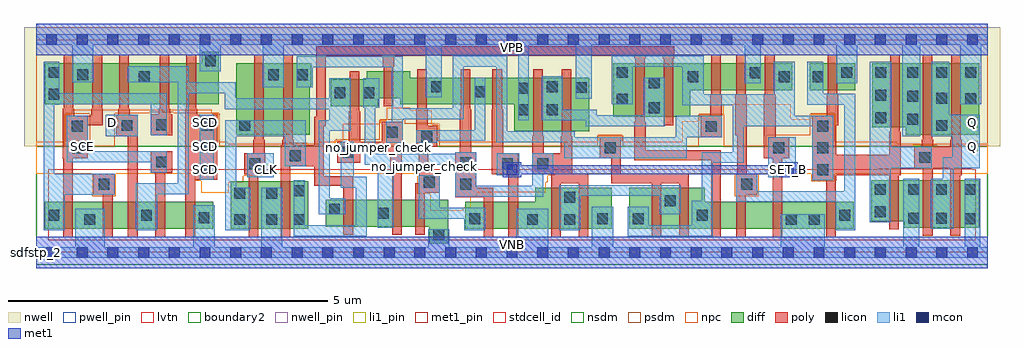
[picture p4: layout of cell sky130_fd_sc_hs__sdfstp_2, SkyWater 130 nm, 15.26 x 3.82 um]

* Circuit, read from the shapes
.subckt sky130_fd_sc_hs__sdfstp_2 CLK D Q SCD SCE SET_B VGND VNB VPB VPWR
XM1 VGND SCE n1 VNB sky130_fd_pr__nfet_01v8_lvt w=0.42 l=0.15
XM2 n2 n1 VGND VNB sky130_fd_pr__nfet_01v8_lvt w=0.42 l=0.15
XM3 n3 D n2 VNB sky130_fd_pr__nfet_01v8_lvt w=0.42 l=0.15
XM4 n4 SCE n3 VNB sky130_fd_pr__nfet_01v8_lvt w=0.42 l=0.15
XM5 VGND SCD n4 VNB sky130_fd_pr__nfet_01v8_lvt w=0.42 l=0.15
XM6 VGND CLK n5 VNB sky130_fd_pr__nfet_01v8_lvt w=0.74 l=0.15
XM7 n6 n5 VGND VNB sky130_fd_pr__nfet_01v8_lvt w=0.74 l=0.15
XM8 n7 n5 n3 VNB sky130_fd_pr__nfet_01v8_lvt w=0.42 l=0.15
XM9 n8 n6 n7 VNB sky130_fd_pr__nfet_01v8_lvt w=0.42 l=0.15
XM10 VGND n9 n8 VNB sky130_fd_pr__nfet_01v8_lvt w=0.42 l=0.15
XM11 n10 n7 n9 VNB sky130_fd_pr__nfet_01v8_lvt w=0.42 l=0.15
XM12 VGND SET_B n10 VNB sky130_fd_pr__nfet_01v8_lvt w=0.42 l=0.15
XM13 n11 n7 VGND VNB sky130_fd_pr__nfet_01v8_lvt w=0.64 l=0.15 m=2
XM14 n11 n6 n12 VNB sky130_fd_pr__nfet_01v8_lvt w=0.64 l=0.15 m=2
XM15 n13 n5 n12 VNB sky130_fd_pr__nfet_01v8_lvt w=0.42 l=0.15
XM16 n14 n15 n13 VNB sky130_fd_pr__nfet_01v8_lvt w=0.42 l=0.15
XM17 VGND SET_B n14 VNB sky130_fd_pr__nfet_01v8_lvt w=0.42 l=0.15
XM18 n15 n12 VGND VNB sky130_fd_pr__nfet_01v8_lvt w=0.42 l=0.15
XM19 VGND n12 n16 VNB sky130_fd_pr__nfet_01v8_lvt w=0.64 l=0.15
XM20 Q n16 VGND VNB sky130_fd_pr__nfet_01v8_lvt w=0.74 l=0.15 m=2
XM21 VPWR SCE n1 VPB sky130_fd_pr__pfet_01v8 w=0.64 l=0.15
XM22 n17 SCE VPWR VPB sky130_fd_pr__pfet_01v8 w=0.64 l=0.15
XM23 n3 D n17 VPB sky130_fd_pr__pfet_01v8 w=0.64 l=0.15
XM24 n18 n1 n3 VPB sky130_fd_pr__pfet_01v8 w=0.64 l=0.15
XM25 VPWR SCD n18 VPB sky130_fd_pr__pfet_01v8 w=0.64 l=0.15
XM26 VPWR CLK n5 VPB sky130_fd_pr__pfet_01v8 w=1.12 l=0.15
XM27 n6 n5 VPWR VPB sky130_fd_pr__pfet_01v8 w=1.12 l=0.15
XM28 n7 n6 n3 VPB sky130_fd_pr__pfet_01v8 w=0.42 l=0.15
XM29 n19 n5 n7 VPB sky130_fd_pr__pfet_01v8 w=0.42 l=0.15
XM30 VPWR n9 n19 VPB sky130_fd_pr__pfet_01v8 w=0.42 l=0.15
XM31 n9 n7 VPWR VPB sky130_fd_pr__pfet_01v8 w=0.42 l=0.15
XM32 VPWR SET_B n9 VPB sky130_fd_pr__pfet_01v8 w=0.42 l=0.15
XM33 n20 n7 VPWR VPB sky130_fd_pr__pfet_01v8 w=0.84 l=0.15 m=2
XM34 n20 n5 n12 VPB sky130_fd_pr__pfet_01v8 w=0.84 l=0.15 m=2
XM35 n21 n6 n12 VPB sky130_fd_pr__pfet_01v8 w=0.42 l=0.15
XM36 VPWR n15 n21 VPB sky130_fd_pr__pfet_01v8 w=0.42 l=0.15
XM37 n12 SET_B VPWR VPB sky130_fd_pr__pfet_01v8 w=0.42 l=0.15
XM38 VPWR n12 n15 VPB sky130_fd_pr__pfet_01v8 w=0.42 l=0.15
XM39 VPWR n12 n16 VPB sky130_fd_pr__pfet_01v8 w=1 l=0.15
XM40 Q n16 VPWR VPB sky130_fd_pr__pfet_01v8 w=1.12 l=0.15 m=2
.ends

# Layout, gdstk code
import gdstk
lib = gdstk.Library(unit=1e-6, precision=1e-09)
def R(c, l, rs):  # rectangles x0, y0, x1, y1
    for r in rs: c.add(gdstk.rectangle(r[:2], r[2:], *l))
def A(c, l, x, y, w, h, nx, ny, dx, dy):  # array of equal rectangles
    R(c, l, [(x+i*dx, y+j*dy, x+i*dx+w, y+j*dy+h) for i in range(nx) for j in range(ny)])
def P(c, l, *ps):  # polygons
    for p in ps: c.add(gdstk.Polygon(p, *l))
nwell_pin = (64, 16)
nwell = (64, 20)
diff = (65, 20)
poly = (66, 20)
licon = (66, 44)
li1_pin = (67, 16)
li1 = (67, 20)
mcon = (67, 44)
met1_pin = (68, 16)
met1 = (68, 20)
stdcell_id = (81, 4)
nsdm = (93, 44)
psdm = (94, 20)
npc = (95, 20)
pwell_pin = (122, 16)
lvtn = (125, 44)
boundary2 = (236, 0)

sky130_fd_sc_hs__sdfstp_ = lib.new_cell('sky130_fd_sc_hs__sdfstp_2')
R(sky130_fd_sc_hs__sdfstp_, nwell_pin, [(0,3.085,14.88,3.33)])
R(sky130_fd_sc_hs__sdfstp_, nwell, [(-0.19,1.66,15.07,3.52)])
R(sky130_fd_sc_hs__sdfstp_, diff, [(0.135,0.37,2.77,0.79), (3.04,0.37,4.255,1.11), (12.095,2.54,12.805,2.96)])
P(sky130_fd_sc_hs__sdfstp_, diff, [(2.855,3.14),(2.59,3.14),(2.59,2.96),(0.135,2.96),(0.135,2.32),(2.855,2.32)],
  [(4.305,2.96),(3.125,2.96),(3.125,1.84),(4.275,1.84),(4.275,2.6),(4.305,2.6)],
  [(6.44,0.825),(4.525,0.825),(4.525,0.405),(6.15,0.405),(6.15,0.135),(6.44,0.135)],
  [(8.65,2.735),(5.85,2.735),(5.85,2.835),(5.17,2.835),(5.17,2.705),(4.605,2.705),(4.605,2.285),(5.345,2.285),(5.345,2.415),(5.69,2.415),(5.69,2.315),(7.475,2.315),(7.475,1.895),(8.65,1.895)],
  [(9,1.01),(7.805,1.01),(7.805,0.79),(6.71,0.79),(6.71,0.37),(9,0.37)],
  [(11.825,2.96),(9.02,2.96),(9.02,2.12),(10.23,2.12),(10.23,2.54),(11.825,2.54)],
  [(12.785,0.79),(10.455,0.79),(10.455,1.01),(9.27,1.01),(9.27,0.37),(12.785,0.37)],
  [(14.745,2.96),(13.075,2.96),(13.075,1.96),(13.595,1.96),(13.595,1.84),(14.745,1.84)],
  [(14.745,1.13),(13.055,1.13),(13.055,0.49),(13.575,0.49),(13.575,0.39),(14.745,0.39)])
P(sky130_fd_sc_hs__sdfstp_, poly, [(10.72,2.465),(10.705,2.465),(10.705,3.09),(10.555,3.09),(10.555,2.465),(10.54,2.465),(10.54,2.135),(10.39,2.135),(10.39,1.805),(10.72,1.805)],
  [(10.705,1.595),(9.53,1.595),(9.53,2.045),(9.515,2.045),(9.515,3.035),(9.53,3.035),(9.53,3.075),(9.8,3.075),(9.8,3.035),(9.815,3.035),(9.815,1.99),(9.965,1.99),(9.965,3.035),(9.98,3.035),(9.98,3.225),(4.38,3.225),(4.38,2.12),(4.35,2.12),(4.35,1.68),(4.025,1.68),(4.025,1.765),(4.01,1.765),(4.01,3.09),(3.86,3.09),(3.86,1.765),(3.845,1.765),(3.845,1.68),(3.825,1.68),(3.825,0.24),(3.975,0.24),(3.975,1.35),(4.35,1.35),(4.35,1.04),(4.805,1.04),(4.805,0.275),(4.955,0.275),(4.955,1.19),(4.5,1.19),(4.5,1.97),(4.53,1.97),(4.53,3.075),(5.42,3.075),(5.42,2.91),(5.435,2.91),(5.435,2.285),(5.585,2.285),(5.585,2.91),(5.6,2.91),(5.6,3.075),(9.35,3.075),(9.35,3.035),(9.365,3.035),(9.365,2.045),(9.35,2.045),(9.35,1.445),(10.555,1.445),(10.555,0.24),(10.705,0.24)],
  [(10.205,1.235),(9.14,1.235),(9.14,1.805),(8.81,1.805),(8.81,1.475),(8.99,1.475),(8.99,1.085),(9.625,1.085),(9.625,0.24),(9.775,0.24),(9.775,1.085),(10.055,1.085),(10.055,0.24),(10.205,0.24)],
  [(8.635,1.235),(8.385,1.235),(8.385,1.82),(8.37,1.82),(8.37,2.865),(8.22,2.865),(8.22,1.82),(8.205,1.82),(8.205,1.555),(7.935,1.555),(7.935,1.82),(7.92,1.82),(7.92,2.865),(7.77,2.865),(7.77,1.82),(7.755,1.82),(7.755,1.225),(8.055,1.225),(8.055,0.24),(8.205,0.24),(8.205,1.085),(8.485,1.085),(8.485,0.24),(8.635,0.24)],
  [(7.535,1.555),(7.3,1.555),(7.3,2.24),(7.285,2.24),(7.285,2.865),(7.135,2.865),(7.135,2.24),(7.12,2.24),(7.12,1.225),(7.385,1.225),(7.385,0.24),(7.535,0.24)],
  [(7.145,1.015),(6.88,1.015),(6.88,1.57),(6.805,1.57),(6.805,2.24),(6.79,2.24),(6.79,2.865),(6.64,2.865),(6.64,2.24),(6.625,2.24),(6.625,1.57),(6.55,1.57),(6.55,0.865),(6.995,0.865),(6.995,0.24),(7.145,0.24)],
  [(6.31,1.265),(6.13,1.265),(6.13,1.65),(6.27,1.65),(6.27,1.98),(6.12,1.98),(6.12,2.24),(6.105,2.24),(6.105,2.865),(5.955,2.865),(5.955,2.24),(5.94,2.24),(5.94,1.65),(5.98,1.65),(5.98,1.085),(5.925,1.085),(5.925,0.275),(6.075,0.275),(6.075,0.935),(6.31,0.935)],
  [(5.73,2.045),(5.4,2.045),(5.4,1.73),(5.065,1.73),(5.065,2.21),(5.05,2.21),(5.05,2.835),(4.9,2.835),(4.9,2.21),(4.885,2.21),(4.885,1.73),(4.71,1.73),(4.71,1.4),(5.065,1.4),(5.065,1.58),(5.535,1.58),(5.535,1.26),(5.565,1.26),(5.565,0.275),(5.715,0.275),(5.715,1.58),(5.73,1.58)],
  [(3.585,1.55),(3.575,1.55),(3.575,1.765),(3.56,1.765),(3.56,3.09),(3.41,3.09),(3.41,1.765),(3.395,1.765),(3.395,1.55),(3.255,1.55),(3.255,1.22),(3.325,1.22),(3.325,0.24),(3.475,0.24),(3.475,1.22),(3.585,1.22)],
  [(2.83,2.15),(2.515,2.15),(2.515,2.245),(2.5,2.245),(2.5,3.09),(2.35,3.09),(2.35,2.245),(2.335,2.245),(2.335,0.24),(2.485,0.24),(2.485,1.14),(2.83,1.14)],
  [(2.125,1.58),(1.795,1.58),(1.795,1.25),(1.865,1.25),(1.865,0.24),(2.015,0.24),(2.015,1.25),(2.125,1.25)],
  [(2.125,2.16),(2.095,2.16),(2.095,2.245),(2.08,2.245),(2.08,3.09),(1.93,3.09),(1.93,2.245),(1.915,2.245),(1.915,2.16),(1.795,2.16),(1.795,1.83),(2.125,1.83)],
  [(1.585,2.15),(1.465,2.15),(1.465,2.245),(1.45,2.245),(1.45,3.09),(1.3,3.09),(1.3,2.245),(1.285,2.245),(1.285,2.15),(1.255,2.15),(1.255,1.82),(1.435,1.82),(1.435,0.24),(1.585,0.24)],
  [(1.225,1.23),(0.895,1.23),(0.895,0.9),(1.045,0.9),(1.045,0.24),(1.195,0.24),(1.195,0.9),(1.225,0.9)],
  [(1.045,2.245),(1.03,2.245),(1.03,3.09),(0.88,3.09),(0.88,2.245),(0.865,2.245),(0.865,2.14),(0.595,2.14),(0.595,2.245),(0.58,2.245),(0.58,3.09),(0.43,3.09),(0.43,2.245),(0.415,2.245),(0.415,1.47),(0.42,1.47),(0.42,0.24),(0.57,0.24),(0.57,1.47),(0.805,1.47),(0.805,1.99),(1.045,1.99)],
  [(11.275,1.23),(11.11,1.23),(11.11,2.465),(11.095,2.465),(11.095,3.09),(10.945,3.09),(10.945,2.465),(10.93,2.465),(10.93,1.835),(10.96,1.835),(10.96,1.23),(10.945,1.23),(10.945,0.24),(11.095,0.24),(11.095,0.9),(11.275,0.9)],
  [(11.775,1.8),(11.56,1.8),(11.56,2.465),(11.545,2.465),(11.545,3.09),(11.395,3.09),(11.395,2.465),(11.38,2.465),(11.38,1.47),(11.515,1.47),(11.515,0.24),(11.665,0.24),(11.665,1.47),(11.775,1.47)],
  [(13.52,1.885),(13.505,1.885),(13.505,3.09),(13.355,3.09),(13.355,1.885),(13.34,1.885),(13.34,1.525),(12.51,1.525),(12.51,1.99),(12.54,1.99),(12.54,2.465),(12.525,2.465),(12.525,3.09),(12.375,3.09),(12.375,2.465),(12.36,2.465),(12.36,2.14),(12.135,2.14),(12.135,1.13),(12.35,1.13),(12.35,0.24),(12.5,0.24),(12.5,1.13),(12.51,1.13),(12.51,1.205),(13.34,1.205),(13.34,0.36),(13.49,0.36),(13.49,1.205),(13.52,1.205)],
  [(14.475,1.765),(14.46,1.765),(14.46,3.09),(14.31,3.09),(14.31,1.765),(14.295,1.765),(14.295,1.65),(14.025,1.65),(14.025,1.765),(14.01,1.765),(14.01,3.09),(13.86,3.09),(13.86,1.765),(13.845,1.765),(13.845,1.65),(13.73,1.65),(13.73,1.32),(13.865,1.32),(13.865,0.26),(14.015,0.26),(14.015,1.32),(14.295,1.32),(14.295,0.26),(14.445,0.26),(14.445,1.205),(14.475,1.205)])
A(sky130_fd_sc_hs__sdfstp_, licon, 12.215, 1.21, 0.17, 0.17, 1, 3, 0, 0.34)
A(sky130_fd_sc_hs__sdfstp_, licon, 2.58, 1.22, 0.17, 0.17, 1, 3, 0, 0.34)
A(sky130_fd_sc_hs__sdfstp_, licon, 13.12, 2.02, 0.17, 0.17, 1, 3, 0, 0.355)
R(sky130_fd_sc_hs__sdfstp_, licon, [(6.21,0.19,6.38,0.36), (0.755,0.43,0.925,0.6), (3.1,0.43,3.27,0.6), (3.6,0.43,3.77,0.6), (4.03,0.43,4.2,0.6), (7.675,0.43,7.845,0.6), (8.26,0.43,8.43,0.6), (11.72,0.43,11.89,0.6), (12.08,0.43,12.25,0.6), (6.77,0.44,6.94,0.61), (14.515,0.44,14.685,0.61), (8.77,0.445,8.94,0.615), (9.33,0.445,9.5,0.615), (13.635,0.45,13.805,0.62), (14.07,0.45,14.24,0.62), (2.54,0.46,2.71,0.63), (0.195,0.495,0.365,0.665), (1.64,0.495,1.81,0.665), (10.33,0.495,10.5,0.665), (12.555,0.495,12.725,0.665), (5.34,0.53,5.51,0.7), (13.115,0.55,13.285,0.72), (4.58,0.595,4.75,0.765), (9.83,0.725,10,0.895), (8.26,0.78,8.43,0.95), (3.1,0.84,3.27,1.01), (3.6,0.84,3.77,1.01), (4.03,0.88,4.2,1.05), (13.115,0.9,13.285,1.07), (13.635,0.9,13.805,1.07), (14.07,0.9,14.24,1.07), (14.515,0.9,14.685,1.07), (0.975,0.98,1.145,1.15), (6.63,0.98,6.8,1.15), (11.025,0.98,11.195,1.15), (6.06,1.015,6.23,1.185), (3.335,1.3,3.505,1.47), (7.285,1.305,7.455,1.475), (7.835,1.305,8.005,1.475), (6.63,1.32,6.8,1.49), (1.875,1.33,2.045,1.5), (13.81,1.4,13.98,1.57), (3.965,1.43,4.135,1.6), (4.79,1.48,4.96,1.65), (0.555,1.55,0.725,1.72), (11.525,1.55,11.695,1.72), (8.89,1.555,9.06,1.725), (6.02,1.73,6.19,1.9), (5.48,1.795,5.65,1.965), (10.47,1.885,10.64,2.055), (0.555,1.89,0.725,2.06), (1.335,1.9,1.505,2.07), (3.175,1.9,3.345,2.07), (14.075,1.9,14.245,2.07), (1.875,1.91,2.045,2.08), (13.62,2,13.79,2.17), (7.535,2.145,7.705,2.315), (7.985,2.145,8.155,2.315), (9.58,2.18,9.75,2.35), (9.08,2.315,9.25,2.485), (14.525,2.32,14.695,2.49), (14.075,2.325,14.245,2.495), (13.62,2.355,13.79,2.525), (0.195,2.39,0.365,2.56), (4.665,2.41,4.835,2.58), (5.115,2.41,5.285,2.58), (6.855,2.43,7.025,2.6), (7.535,2.485,7.705,2.655), (8.435,2.495,8.605,2.665), (6.175,2.505,6.345,2.675), (7.985,2.505,8.155,2.675), (9.58,2.565,9.75,2.735), (1.605,2.66,1.775,2.83), (10.185,2.66,10.355,2.83), (11.61,2.665,11.78,2.835), (12.14,2.665,12.31,2.835), (0.645,2.695,0.815,2.865), (3.625,2.695,3.795,2.865), (4.075,2.695,4.245,2.865), (11.16,2.725,11.33,2.895), (0.195,2.73,0.365,2.9), (9.08,2.73,9.25,2.9), (12.59,2.73,12.76,2.9), (13.62,2.73,13.79,2.9), (14.075,2.73,14.245,2.9), (14.525,2.73,14.695,2.9), (2.64,2.91,2.81,3.08)])
A(sky130_fd_sc_hs__sdfstp_, li1_pin, 2.555, 1.21, 0.17, 0.17, 1, 3, 0, 0.37)
R(sky130_fd_sc_hs__sdfstp_, li1_pin, [(3.515,1.21,3.685,1.38), (0.635,1.58,0.805,1.75), (14.555,1.58,14.725,1.75), (1.115,1.95,1.285,2.12), (14.555,1.95,14.725,2.12)])
R(sky130_fd_sc_hs__sdfstp_, li1, [(2.555,1.14,2.78,2.15), (3.3,1.18,3.715,1.55), (11.445,1.18,11.875,1.8), (7.205,1.21,7.555,1.555), (1.085,1.82,1.585,2.15)])
P(sky130_fd_sc_hs__sdfstp_, li1, [(0.285,2.31),(0.285,1.23),(1.225,1.23),(1.225,0.9),(0.445,0.9),(0.445,0.35),(0.115,0.35),(0.115,2.98),(0.365,2.98),(0.365,2.49),(2.045,2.49),(2.045,1.83),(1.795,1.83),(1.795,2.32),(0.365,2.32),(0.365,2.31)],
  [(8.435,2.405),(8.435,3.245),(7.705,3.245),(7.705,2.065),(7.535,2.065),(7.535,3.245),(6.345,3.245),(6.345,2.425),(6.095,2.425),(6.095,3.245),(3.875,3.245),(3.875,2.58),(3.545,2.58),(3.545,3.245),(2.89,3.245),(2.89,2.83),(2.56,2.83),(2.56,3.245),(0.895,3.245),(0.895,2.66),(0.565,2.66),(0.565,3.245),(0,3.245),(0,3.415),(14.88,3.415),(14.88,3.245),(14.775,3.245),(14.775,2.32),(14.445,2.32),(14.445,3.245),(13.825,3.245),(13.825,1.82),(13.54,1.82),(13.54,3.245),(12.84,3.245),(12.84,2.65),(12.51,2.65),(12.51,3.245),(11.33,3.245),(11.33,2.645),(11.08,2.645),(11.08,3.245),(8.685,3.245),(8.685,2.405)],
  [(13.555,0.085),(13.555,1.15),(13.805,1.15),(13.805,0.085),(14.515,0.085),(14.515,1.15),(14.765,1.15),(14.765,0.085),(14.88,0.085),(14.88,-0.085),(0,-0.085),(0,0.085),(0.615,0.085),(0.615,0.68),(1.07,0.68),(1.07,0.085),(2.46,0.085),(2.46,0.74),(2.79,0.74),(2.79,0.085),(3.52,0.085),(3.52,1.01),(3.85,1.01),(3.85,0.085),(6.13,0.085),(6.13,0.36),(6.46,0.36),(6.46,0.085),(7.51,0.085),(7.51,0.68),(8.01,0.68),(8.01,0.085),(8.69,0.085),(8.69,0.715),(9.02,0.715),(9.02,0.085),(11.64,0.085),(11.64,0.6),(12.33,0.6),(12.33,0.085)],
  [(11.275,0.96),(12.635,0.96),(12.635,2.31),(12.06,2.31),(12.06,2.98),(12.31,2.98),(12.31,2.48),(12.805,2.48),(12.805,0.35),(12.5,0.35),(12.5,0.79),(10.945,0.79),(10.945,1.23),(11.275,1.23)],
  [(0.475,2.14),(0.805,2.14),(0.805,1.58),(2.045,1.58),(2.045,1.25),(1.795,1.25),(1.795,1.41),(0.475,1.41)],
  [(1.56,1.08),(2.215,1.08),(2.215,2.66),(1.435,2.66),(1.435,2.91),(2.385,2.91),(2.385,2.66),(3.12,2.66),(3.12,2.41),(4.585,2.41),(4.585,2.725),(4.915,2.725),(4.915,1.9),(4.59,1.9),(4.59,0.845),(4.83,0.845),(4.83,0.595),(4.42,0.595),(4.42,2.07),(4.585,2.07),(4.585,2.24),(2.95,2.24),(2.95,2.49),(2.385,2.49),(2.385,0.91),(1.89,0.91),(1.89,0.35),(1.56,0.35)],
  [(10.105,2.305),(10.105,2.905),(9.33,2.905),(9.33,2.315),(9,2.315),(9,3.075),(10.435,3.075),(10.435,2.475),(11.53,2.475),(11.53,2.98),(11.86,2.98),(11.86,2.14),(12.465,2.14),(12.465,1.13),(12.135,1.13),(12.135,1.97),(11.06,1.97),(11.06,1.4),(10.58,1.4),(10.58,0.255),(9.25,0.255),(9.25,0.715),(9.58,0.715),(9.58,0.425),(10.25,0.425),(10.25,0.81),(10.41,0.81),(10.41,1.57),(10.89,1.57),(10.89,2.305)],
  [(14.755,2.15),(14.275,2.15),(14.275,2.98),(13.995,2.98),(13.995,1.82),(14.325,1.82),(14.325,1.49),(14.175,1.49),(14.175,1.15),(13.99,1.15),(13.99,0.37),(14.345,0.37),(14.345,1.32),(14.755,1.32)],
  [(13.035,2.98),(13.37,2.98),(13.37,1.65),(14.005,1.65),(14.005,1.32),(13.365,1.32),(13.365,0.47),(13.035,0.47)],
  [(4.76,1.015),(4.76,1.73),(4.965,1.73),(4.965,1.185),(5.17,1.185),(5.17,0.255),(4.03,0.255),(4.03,1.13),(4.2,1.13),(4.2,0.425),(5,0.425),(5,1.015)],
  [(5.135,1.375),(5.135,2.265),(5.115,2.265),(5.115,2.725),(5.365,2.725),(5.365,2.265),(5.305,2.265),(5.305,1.545),(6.55,1.545),(6.55,1.57),(6.88,1.57),(6.88,1.04),(7.755,1.04),(7.755,1.555),(8.085,1.555),(8.085,1.225),(7.925,1.225),(7.925,0.87),(6.55,0.87),(6.55,1.375),(5.59,1.375),(5.59,0.385),(5.34,0.385),(5.34,1.375)],
  [(2.96,2.07),(4.215,2.07),(4.215,1.35),(3.885,1.35),(3.885,1.82),(3.13,1.82),(3.13,1.01),(3.35,1.01),(3.35,0.35),(2.96,0.35)],
  [(7.025,1.745),(6.27,1.745),(6.27,1.715),(5.94,1.715),(5.94,1.915),(6.855,1.915),(6.855,2.735),(7.025,2.735)],
  [(6.69,0.35),(6.69,0.53),(5.98,0.53),(5.98,1.205),(6.31,1.205),(6.31,0.7),(7.02,0.7),(7.02,0.35)],
  [(7.195,1.725),(7.195,2.905),(6.685,2.905),(6.685,2.085),(5.73,2.085),(5.73,1.715),(5.475,1.715),(5.475,2.045),(5.56,2.045),(5.56,2.895),(4.325,2.895),(4.325,2.58),(4.075,2.58),(4.075,3.065),(5.73,3.065),(5.73,2.255),(6.515,2.255),(6.515,3.075),(7.365,3.075),(7.365,1.895),(8.425,1.895),(8.425,1.805),(10,1.805),(10,2.135),(10.72,2.135),(10.72,1.805),(10.17,1.805),(10.17,1.475),(8.255,1.475),(8.255,1.725)],
  [(8.235,2.235),(8.765,2.235),(8.765,2.145),(9.5,2.145),(9.5,2.735),(9.83,2.735),(9.83,1.975),(8.595,1.975),(8.595,2.065),(7.905,2.065),(7.905,2.755),(8.235,2.755)],
  [(9.75,0.595),(9.75,0.885),(8.51,0.885),(8.51,0.35),(8.18,0.35),(8.18,1.055),(10.08,1.055),(10.08,0.595)])
A(sky130_fd_sc_hs__sdfstp_, mcon, 0.155, -0.085, 0.17, 0.17, 31, 2, 0.48, 3.33)
R(sky130_fd_sc_hs__sdfstp_, mcon, [(7.355,1.21,7.525,1.38), (11.675,1.21,11.845,1.38)])
R(sky130_fd_sc_hs__sdfstp_, met1_pin, [(0,0,14.88,0.245), (11.675,1.21,11.845,1.38), (0,3.085,14.88,3.33)])
R(sky130_fd_sc_hs__sdfstp_, met1, [(0,-0.245,14.88,0.245), (0,3.085,14.88,3.575)])
P(sky130_fd_sc_hs__sdfstp_, met1, [(7.585,1.365),(11.615,1.365),(11.615,1.41),(11.905,1.41),(11.905,1.18),(11.615,1.18),(11.615,1.225),(7.585,1.225),(7.585,1.18),(7.295,1.18),(7.295,1.41),(7.585,1.41)])
R(sky130_fd_sc_hs__sdfstp_, stdcell_id, [(0,0,14.88,3.33)])
R(sky130_fd_sc_hs__sdfstp_, nsdm, [(0,-0.19,14.88,1.66)])
P(sky130_fd_sc_hs__sdfstp_, psdm, [(14.88,3.52),(0,3.52),(0,1.66),(0.445,1.66),(0.445,2.17),(0.835,2.17),(0.835,1.66),(1.225,1.66),(1.225,2.18),(1.765,2.18),(1.765,2.19),(2.155,2.19),(2.155,2.18),(2.86,2.18),(2.86,1.66),(3.855,1.66),(3.855,1.71),(4.245,1.71),(4.245,1.66),(4.68,1.66),(4.68,1.76),(5.37,1.76),(5.37,2.075),(5.76,2.075),(5.76,2.01),(6.3,2.01),(6.3,1.66),(8.78,1.66),(8.78,1.835),(9.17,1.835),(9.17,1.66),(10.36,1.66),(10.36,2.165),(10.75,2.165),(10.75,1.66),(11.415,1.66),(11.415,1.83),(12.105,1.83),(12.105,2.17),(12.495,2.17),(12.495,1.66),(13.7,1.66),(13.7,1.68),(14.09,1.68),(14.09,1.66),(14.88,1.66)])
P(sky130_fd_sc_hs__sdfstp_, npc, [(14.88,1.7),(13.455,1.7),(13.455,1.73),(12.485,1.73),(12.485,2.16),(12.115,2.16),(12.115,2.085),(11.795,2.085),(11.795,2.315),(10.74,2.315),(10.74,2.155),(10.37,2.155),(10.37,2.05),(10.105,2.05),(10.105,1.73),(9.16,1.73),(9.16,1.825),(8.79,1.825),(8.79,1.73),(6.29,1.73),(6.29,2),(6.185,2),(6.185,2.225),(5.85,2.225),(5.85,2.265),(5.485,2.265),(5.485,2.065),(5.38,2.065),(5.38,2.015),(4.795,2.015),(4.795,1.75),(4.69,1.75),(4.69,1.73),(4.415,1.73),(4.415,1.7),(2.985,1.7),(2.985,1.73),(2.85,1.73),(2.85,2.17),(2.745,2.17),(2.745,2.23),(0.56,2.23),(0.56,2.16),(0.455,2.16),(0.455,1.73),(0,1.73),(0,1.23),(0.875,1.23),(0.875,0.88),(1.245,0.88),(1.245,1.23),(2.48,1.23),(2.48,1.12),(2.585,1.12),(2.585,0.935),(3.01,0.935),(3.01,1.1),(3.235,1.1),(3.235,1.2),(3.605,1.2),(3.605,1.23),(5.96,1.23),(5.96,0.915),(6.165,0.915),(6.165,0.65),(6.68,0.65),(6.68,0.7),(6.795,0.7),(6.795,0.88),(6.9,0.88),(6.9,0.94),(7.965,0.94),(7.965,1.1),(8,1.1),(8,1.205),(8.105,1.205),(8.105,1.23),(10.925,1.23),(10.925,0.88),(11.295,0.88),(11.295,1.23),(12.115,1.23),(12.115,1.11),(12.485,1.11),(12.485,1.23),(14.88,1.23)])
R(sky130_fd_sc_hs__sdfstp_, pwell_pin, [(0,0,14.88,0.245)])
P(sky130_fd_sc_hs__sdfstp_, lvtn, [(14.69,1.3),(14.625,1.3),(14.625,1.31),(13.16,1.31),(13.16,1.3),(0.19,1.3),(0.19,0.19),(14.69,0.19)])
R(sky130_fd_sc_hs__sdfstp_, boundary2, [(0,0,14.88,3.33)])
sky130_fd_sc_hs__sdfstp_.add(gdstk.Label('sdfstp_2', (0,0), layer=83, texttype=44))
sky130_fd_sc_hs__sdfstp_.add(gdstk.Label('no_jumper_check', (6.07,1.345), layer=83, texttype=44))
sky130_fd_sc_hs__sdfstp_.add(gdstk.Label('no_jumper_check', (5.36,1.635), layer=83, texttype=44))
sky130_fd_sc_hs__sdfstp_.add(gdstk.Label('VNB', (7.44,0.123), layer=64, texttype=59))
sky130_fd_sc_hs__sdfstp_.add(gdstk.Label('VPB', (7.44,3.208), layer=64, texttype=5))
sky130_fd_sc_hs__sdfstp_.add(gdstk.Label('SET_B', (11.76,1.295), layer=68, texttype=5))
sky130_fd_sc_hs__sdfstp_.add(gdstk.Label('VGND', (7.44,0.123), layer=68, texttype=5))
sky130_fd_sc_hs__sdfstp_.add(gdstk.Label('VPWR', (7.44,3.208), layer=68, texttype=5))
sky130_fd_sc_hs__sdfstp_.add(gdstk.Label('CLK', (3.6,1.295), layer=67, texttype=5))
sky130_fd_sc_hs__sdfstp_.add(gdstk.Label('SCE', (0.72,1.665), layer=67, texttype=5))
sky130_fd_sc_hs__sdfstp_.add(gdstk.Label('D', (1.2,2.035), layer=67, texttype=5))
sky130_fd_sc_hs__sdfstp_.add(gdstk.Label('SCD', (2.64,1.295), layer=67, texttype=5))
sky130_fd_sc_hs__sdfstp_.add(gdstk.Label('SCD', (2.64,1.665), layer=67, texttype=5))
sky130_fd_sc_hs__sdfstp_.add(gdstk.Label('SCD', (2.64,2.035), layer=67, texttype=5))
sky130_fd_sc_hs__sdfstp_.add(gdstk.Label('Q', (14.64,1.665), layer=67, texttype=5))
sky130_fd_sc_hs__sdfstp_.add(gdstk.Label('Q', (14.64,2.035), layer=67, texttype=5))

lib.write_gds('sky130_fd_sc_hs__sdfstp_2.gds')
